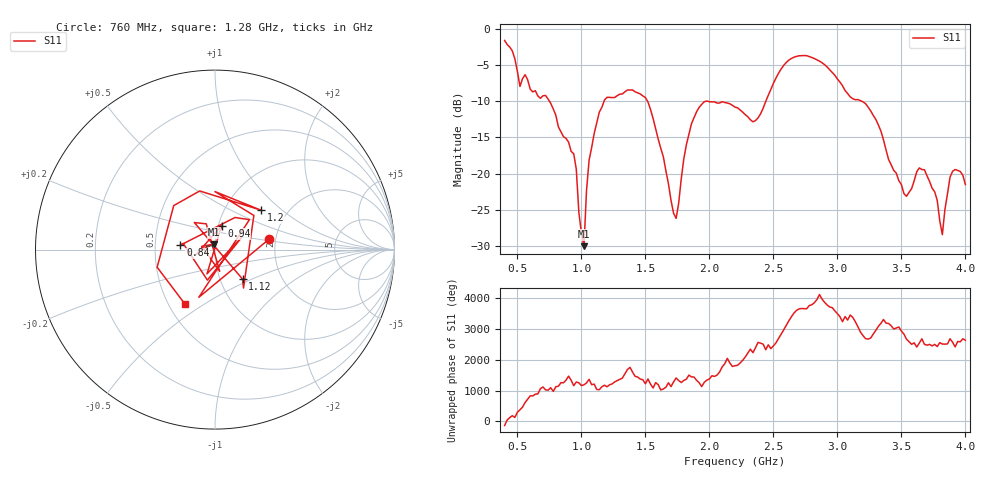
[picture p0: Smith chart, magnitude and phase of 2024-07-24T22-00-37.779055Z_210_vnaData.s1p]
!Created with skrf (http://scikit-rf.org).
# Hz S RI R 50.0
!freq ReS11 ImS11
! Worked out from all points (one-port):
!   181 points, 400 MHz to 4 GHz, reference 50 ohm
!   lowest |S11| = -30.1 dB at 1.02 GHz (marker M1), VSWR 1.06, Z = 49.2 + j3.01 ohm
!   |S11| at or under -10 dB: 1.518 GHz to 1.968 GHz (450.4 MHz wide, 25.8 % of centre); 1.992 GHz to 2.44 GHz (448.3 MHz wide, 20.2 % of centre); 3.193 GHz to end of sweep (the widest 3 of 4)
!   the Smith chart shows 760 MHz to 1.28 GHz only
!   S11 on the Smith chart (normalised r, x): 760 MHz: 1.84, +0.24; 840 MHz: 0.68, +0.03; 940 MHz: 1.04, +0.28; 1.12 GHz: 1.28, -0.44; 1.2 GHz: 1.47, +0.73; 1.28 GHz: 0.61, -0.42
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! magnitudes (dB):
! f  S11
! 400 MHz  -1.5
! 520 MHz  -7.9
! 760 MHz  -10.3
! 840 MHz  -14.2
! 860 MHz  -14.9
! 940 MHz  -17.3
! 1.02 GHz  -30.1
! 1.06 GHz  -18.2
! 1.12 GHz  -13.0
! 1.2 GHz  -9.4
! 1.28 GHz  -9.2
! 1.3 GHz  -9.0
! 1.52 GHz  -10.1
! 1.72 GHz  -25.5
! 1.76 GHz  -24.1
! 1.82 GHz  -16.0
! 1.92 GHz  -10.8
! 2.2 GHz  -10.8
! 2.36 GHz  -12.7
! 2.66 GHz  -3.9
! 3.1 GHz  -9.4
! 3.26 GHz  -11.3
! 3.56 GHz  -22.6
! 3.68 GHz  -19.5
! 3.78 GHz  -23.7
! 3.82 GHz  -28.5
! 3.9 GHz  -19.7
! 4 GHz  -21.5
